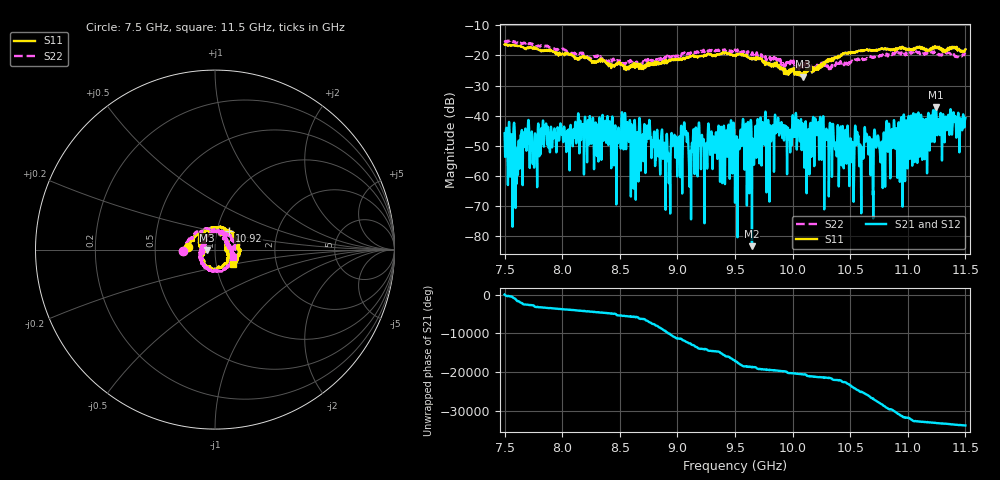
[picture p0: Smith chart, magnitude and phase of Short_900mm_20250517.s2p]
#  HZ  S  DB  R  50.00
! Rohde & Schwarz ZVA40 2Ports - Version 4.11 - 1145.1110k40 SN: 100216
! Date: 2025-05-17 20:22:44
! Measurements: S11 S21 S12 S22
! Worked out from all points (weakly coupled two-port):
!   5001 points, 7.5 GHz to 11.5 GHz, reference 50 ohm
!   highest |S21| = -37.14 dB at 11.24 GHz (marker M1); lowest = -83.3 dB at 9.647 GHz (marker M2)
!   lowest |S11| = -27.1 dB at 10.09 GHz (marker M3), VSWR 1.09, Z = 45.8 - j0.237 ohm
!   |S11| at or under -10 dB: start of sweep to end of sweep
!   |S22| runs from -25.3 to -15.0 dB; largest |S21 - S12| = 0.00012
!   S11 on the Smith chart (normalised r, x): 7.5 GHz: 0.74, +0.02; 10.92 GHz: 1.14, +0.24; 11.5 GHz: 1.20, -0.20
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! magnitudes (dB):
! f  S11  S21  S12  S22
! 7.5 GHz  -16.3  -45.9  -45.8  -15.0
! 7.613 GHz  -16.9  -54.2  -54.0  -15.7
! 7.694 GHz  -17.4  -48.7  -48.8  -16.1
! 7.764 GHz  -17.8  -45.9  -45.9  -16.5
! 7.846 GHz  -18.2  -43.6  -43.6  -17.0
! 8.167 GHz  -20.7  -44.3  -44.3  -19.1
! 8.464 GHz  -23.1  -45.1  -45.1  -21.3
! 8.531 GHz  -23.4  -50.2  -50.1  -22.7
! 8.834 GHz  -22.9  -53.5  -53.5  -21.2
! 9.5 GHz  -19.9  -68.9  -69.6  -18.0
! 9.647 GHz  -21.3  -83.3  -79.1  -19.4
! 10.09 GHz  -27.1  -44.5  -44.4  -24.1
! 10.17 GHz  -25.6  -46.5  -46.5  -24.7
! 10.51 GHz  -19.0  -55.0  -55.0  -21.9
! 10.56 GHz  -18.9  -47.7  -47.6  -21.4
! 10.6 GHz  -18.3  -63.0  -62.9  -21.5
! 10.64 GHz  -18.2  -48.1  -48.1  -21.3
! 10.68 GHz  -18.4  -48.2  -48.2  -20.5
! 10.83 GHz  -18.0  -44.1  -44.1  -19.7
! 10.92 GHz  -17.7  -46.0  -45.9  -19.1
! 11.24 GHz  -17.6  -37.1  -37.1  -19.1
! 11.5 GHz  -17.9  -40.8  -40.7  -19.5
